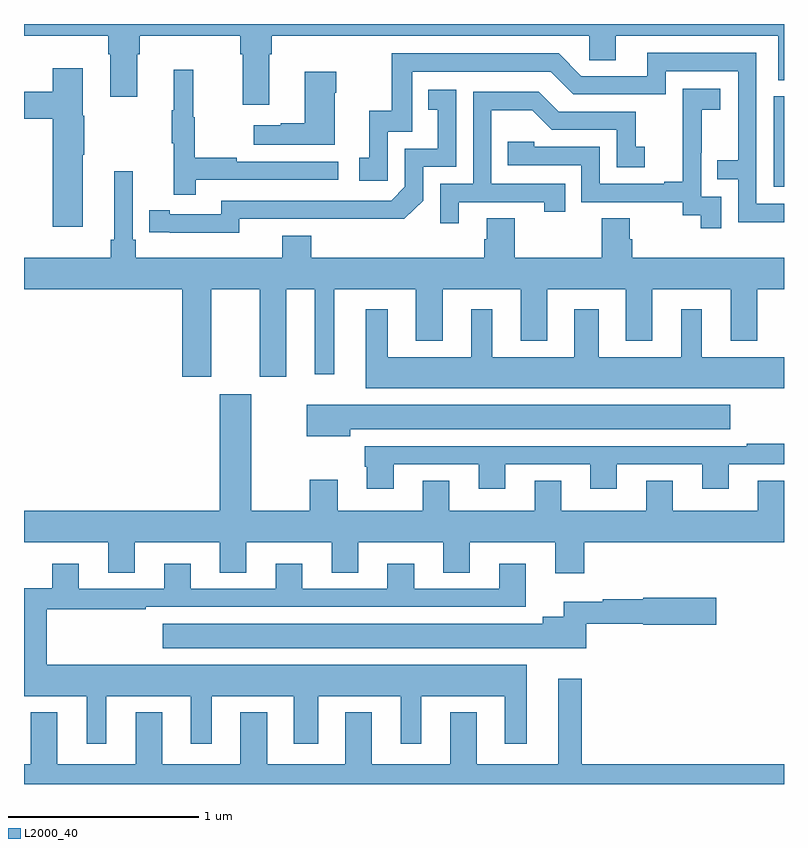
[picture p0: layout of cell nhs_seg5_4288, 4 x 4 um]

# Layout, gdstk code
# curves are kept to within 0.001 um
import gdstk
lib = gdstk.Library(unit=1e-6, precision=1e-09)
def R(c, l, rs):  # rectangles x0, y0, x1, y1
    for r in rs: c.add(gdstk.rectangle(r[:2], r[2:], *l))
def P(c, l, *ps):  # polygons
    for p in ps: c.add(gdstk.Polygon(p, *l))
L2000_40 = (2000, 40)

nhs_seg5_4288 = lib.new_cell('nhs_seg5_4288')
R(nhs_seg5_4288, L2000_40, [(366.945,879.942,367,880.419)])
P(nhs_seg5_4288, L2000_40, [(364.291,880.64),(364.304,880.64),(364.304,880.736),(365.976,880.736),(365.976,880.609),(366.115,880.609),(366.115,880.736),(366.971,880.736),(366.971,880.504),(367,880.504),(367,880.799),(363,880.799),(363,880.736),(363.443,880.736),(363.443,880.64),(363.455,880.64),(363.455,880.416),(363.595,880.416),(363.595,880.64),(363.608,880.64),(363.608,880.736),(364.139,880.736),(364.139,880.64),(364.151,880.64),(364.151,880.374),(364.291,880.374)],
  [(367,879.852),(366.855,879.852),(366.855,880.647),(366.281,880.647),(366.281,880.524),(365.934,880.524),(365.814,880.644),(364.935,880.644),(364.935,880.342),(364.817,880.342),(364.817,880.095),(364.764,880.095),(364.764,879.975),(364.914,879.975),(364.914,880.233),(365.043,880.233),(365.043,880.548),(365.772,880.548),(365.892,880.428),(366.378,880.428),(366.378,880.551),(366.759,880.551),(366.759,880.082),(366.649,880.082),(366.649,879.981),(366.759,879.981),(366.759,879.756),(367,879.756)],
  [(363.31,880.111),(363.318,880.111),(363.318,880.317),(363.31,880.317),(363.31,880.567),(363.152,880.567),(363.152,880.443),(363,880.443),(363,880.301),(363.152,880.301),(363.152,879.732),(363.31,879.732)],
  [(363.905,879.978),(364.654,879.978),(364.654,880.074),(364.121,880.074),(364.121,880.094),(363.898,880.094),(363.898,880.308),(363.89,880.308),(363.89,880.558),(363.788,880.558),(363.788,880.345),(363.777,880.345),(363.777,880.171),(363.788,880.171),(363.788,879.9),(363.905,879.9)],
  [(364.636,880.436),(364.644,880.436),(364.644,880.549),(364.478,880.549),(364.478,880.277),(364.352,880.277),(364.352,880.267),(364.209,880.267),(364.209,880.163),(364.636,880.163)],
  [(366.669,879.891),(366.564,879.891),(366.564,880.121),(366.566,880.121),(366.566,880.349),(366.664,880.349),(366.664,880.459),(366.466,880.459),(366.466,880.253),(366.467,880.253),(366.467,879.97),(366.371,879.97),(366.371,879.957),(366.03,879.957),(366.03,880.152),(365.685,880.152),(365.685,880.179),(365.545,880.179),(365.545,880.056),(365.934,880.056),(365.934,879.861),(366.468,879.861),(366.468,879.793),(366.561,879.793),(366.561,879.723),(366.669,879.723)],
  [(364.134,879.774),(365.002,879.773),(365.1,879.87),(365.1,880.047),(365.274,880.047),(365.274,880.453),(365.128,880.453),(365.128,880.347),(365.177,880.347),(365.177,880.143),(365.004,880.143),(365.004,879.942),(364.932,879.87),(364.038,879.87),(364.038,879.798),(363.766,879.798),(363.766,879.818),(363.658,879.818),(363.658,879.702),(364.134,879.701)],
  [(365.287,879.861),(365.738,879.861),(365.738,879.81),(365.849,879.81),(365.849,879.957),(365.46,879.957),(365.46,880.346),(365.674,880.346),(365.778,880.242),(366.12,880.242),(366.12,880.044),(366.268,880.044),(366.268,880.153),(366.219,880.153),(366.219,880.338),(365.815,880.338),(365.71,880.443),(365.364,880.443),(365.364,879.957),(365.19,879.957),(365.19,879.75),(365.287,879.75)],
  [(363.985,879.404),(364.241,879.404),(364.241,878.943),(364.381,878.943),(364.381,879.404),(364.529,879.404),(364.529,878.955),(364.633,878.955),(364.633,879.404),(365.063,879.404),(365.063,879.131),(365.203,879.131),(365.203,879.404),(365.615,879.404),(365.615,879.131),(365.755,879.131),(365.755,879.404),(366.167,879.404),(366.167,879.131),(366.307,879.131),(366.307,879.404),(366.719,879.404),(366.719,879.131),(366.859,879.131),(366.859,879.404),(367,879.404),(367,879.568),(366.2,879.568),(366.2,879.666),(366.187,879.666),(366.187,879.776),(366.04,879.776),(366.04,879.568),(365.583,879.568),(365.583,879.776),(365.435,879.776),(365.435,879.666),(365.423,879.666),(365.423,879.568),(364.511,879.568),(364.511,879.685),(364.358,879.685),(364.358,879.568),(363.587,879.568),(363.587,879.664),(363.573,879.664),(363.573,880.024),(363.476,880.024),(363.476,879.664),(363.457,879.664),(363.457,879.568),(363,879.568),(363,879.404),(363.833,879.404),(363.833,878.943),(363.985,878.943)],
  [(367,879.046),(366.568,879.046),(366.568,879.298),(366.458,879.298),(366.458,879.046),(366.025,879.046),(366.025,879.298),(365.897,879.298),(365.897,879.046),(365.464,879.046),(365.464,879.298),(365.354,879.298),(365.354,879.046),(364.915,879.046),(364.915,879.298),(364.799,879.298),(364.799,878.882),(367,878.882)],
  [(365.948,878.072),(367,878.072),(367,878.396),(366.863,878.396),(366.863,878.236),(366.415,878.236),(366.415,878.396),(366.275,878.396),(366.275,878.236),(365.827,878.236),(365.827,878.396),(365.687,878.396),(365.687,878.236),(365.239,878.236),(365.239,878.396),(365.099,878.396),(365.099,878.236),(364.651,878.236),(364.651,878.401),(364.504,878.401),(364.504,878.236),(364.195,878.236),(364.195,878.851),(364.031,878.851),(364.031,878.236),(363,878.236),(363,878.072),(363.443,878.072),(363.443,877.912),(363.583,877.912),(363.583,878.072),(364.031,878.072),(364.031,877.912),(364.171,877.912),(364.171,878.072),(364.619,878.072),(364.619,877.912),(364.759,877.912),(364.759,878.072),(365.207,878.072),(365.207,877.912),(365.347,877.912),(365.347,878.072),(365.795,878.072),(365.795,877.908),(365.948,877.908)],
  [(364.717,878.666),(366.718,878.666),(366.718,878.794),(364.488,878.794),(364.488,878.63),(364.717,878.63)],
  [(364.945,878.481),(365.393,878.481),(365.393,878.352),(365.533,878.352),(365.533,878.481),(365.981,878.481),(365.981,878.352),(366.121,878.352),(366.121,878.481),(366.569,878.481),(366.569,878.352),(366.709,878.352),(366.709,878.481),(367,878.481),(367,878.59),(366.805,878.59),(366.805,878.577),(364.793,878.577),(364.793,878.469),(364.805,878.469),(364.805,878.352),(364.945,878.352)],
  [(363.433,877.262),(363.878,877.262),(363.878,877.011),(363.988,877.011),(363.988,877.262),(364.421,877.262),(364.421,877.011),(364.549,877.011),(364.549,877.262),(364.982,877.262),(364.982,877.011),(365.092,877.011),(365.092,877.262),(365.531,877.262),(365.531,877.011),(365.647,877.011),(365.647,877.426),(363.121,877.426),(363.121,877.719),(363.641,877.719),(363.641,877.731),(365.641,877.731),(365.641,877.957),(365.501,877.957),(365.501,877.827),(365.053,877.827),(365.053,877.957),(364.913,877.957),(364.913,877.827),(364.465,877.827),(364.465,877.957),(364.325,877.957),(364.325,877.827),(363.877,877.827),(363.877,877.957),(363.737,877.957),(363.737,877.827),(363.289,877.827),(363.289,877.957),(363.149,877.957),(363.149,877.828),(363,877.828),(363,877.262),(363.329,877.262),(363.329,877.011),(363.433,877.011)],
  [(365.958,877.642),(366.258,877.642),(366.258,877.637),(366.643,877.637),(366.643,877.779),(366.258,877.779),(366.258,877.771),(366.046,877.771),(366.046,877.759),(365.84,877.759),(365.84,877.678),(365.729,877.678),(365.729,877.642),(363.729,877.642),(363.729,877.514),(365.958,877.514)],
  [(367,876.904),(365.935,876.904),(365.935,877.354),(365.813,877.354),(365.813,876.904),(365.383,876.904),(365.383,877.177),(365.243,877.177),(365.243,876.904),(364.831,876.904),(364.831,877.177),(364.691,877.177),(364.691,876.904),(364.279,876.904),(364.279,877.177),(364.139,877.177),(364.139,876.904),(363.727,876.904),(363.727,877.177),(363.587,877.177),(363.587,876.904),(363.175,876.904),(363.175,877.177),(363.035,877.177),(363.035,876.904),(363,876.904),(363,876.799),(367,876.799)])

lib.write_gds('nhs_seg5_4288.gds')
